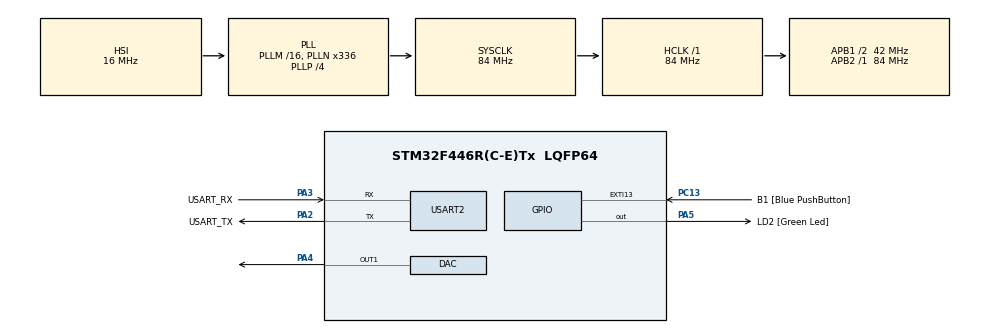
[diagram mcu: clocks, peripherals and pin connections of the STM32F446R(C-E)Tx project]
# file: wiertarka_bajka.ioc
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Mcu.Family=STM32F4
Mcu.Name=STM32F446R(C-E)Tx
Mcu.Package=LQFP64
NVIC.PriorityGroup=NVIC_PRIORITYGROUP_0
PA13.GPIO_Label=TMS
PA13.Mode=Serial_Wire
PA13.Signal=SYS_JTMS-SWDIO
PA14.GPIO_Label=TCK
PA14.Mode=Serial_Wire
PA14.Signal=SYS_JTCK-SWCLK
PA2.GPIO_Label=USART_TX
PA2.Mode=Asynchronous
PA2.Signal=USART2_TX
PA3.GPIO_Label=USART_RX
PA3.Mode=Asynchronous
PA3.Signal=USART2_RX
PA4.Signal=COMP_DAC1_group
PA5.GPIO_Label=LD2 [Green Led]
PA5.Signal=GPIO_Output
PB3.GPIO_Label=SWO
PB3.Signal=SYS_JTDO-SWO
PC13.GPIO_Label=B1 [Blue PushButton]
PC13.GPIO_ModeDefaultEXTI=GPIO_MODE_IT_FALLING
PC13.Signal=GPXTI13
PC14-OSC32_IN.Mode=LSE-External-Oscillator
PC14-OSC32_IN.Signal=RCC_OSC32_IN
PC15-OSC32_OUT.Mode=LSE-External-Oscillator
PC15-OSC32_OUT.Signal=RCC_OSC32_OUT
PH0-OSC_IN.Mode=HSE-External-Oscillator
PH0-OSC_IN.Signal=RCC_OSC_IN
PH1-OSC_OUT.Mode=HSE-External-Oscillator
PH1-OSC_OUT.Signal=RCC_OSC_OUT
ProjectManager.HeapSize=0x200
ProjectManager.StackSize=0x400
ProjectManager.TargetToolchain=STM32CubeIDE
RCC.48MHZClocksFreq_Value=84000000
RCC.AHBFreq_Value=84000000
RCC.APB1CLKDivider=RCC_HCLK_DIV2
RCC.APB1Freq_Value=42000000
RCC.APB1TimFreq_Value=84000000
RCC.APB2Freq_Value=84000000
RCC.APB2TimFreq_Value=84000000
RCC.CortexFreq_Value=84000000
RCC.FLatency-AdvancedSettings=FLASH_LATENCY_2
RCC.HCLKFreq_Value=84000000
RCC.HSE_VALUE=8000000
RCC.HSI_VALUE=16000000
RCC.PLLN=336
RCC.PLLP=RCC_PLLP_DIV4
RCC.SYSCLKFreq_VALUE=84000000
RCC.SYSCLKSource=RCC_SYSCLKSOURCE_PLLCLK
RCC.USBFreq_Value=168000000
RCC.VCOOutputFreq_Value=336000000
SH.COMP_DAC1_group.0=DAC_OUT1,DAC_OUT1
USART2.VirtualMode=VM_ASYNC
board=NUCLEO-F446RE

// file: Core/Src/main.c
/* USER CODE BEGIN Header */
/**
  ******************************************************************************
  * @file           : main.c
  * @brief          : Main program body
  ******************************************************************************
  * @attention
  *
  * Copyright (c) 2024 STMicroelectronics.
  * All rights reserved.
  *
  * This software is licensed under terms that can be found in the LICENSE file
  * in the root directory of this software component.
  * If no LICENSE file comes with this software, it is provided AS-IS.
  *
  ******************************************************************************
  */
/* USER CODE END Header */
#include "main.h"

/* USER CODE BEGIN PD */
#define MAX_VOLTAGE 24.0 //do zmiany po wykonaniu pomiaru z baterią
#define MAX_NUMBER 4095.0 //max number for 12-bit converter
/* USER CODE END PD */

DAC_HandleTypeDef hdac;

UART_HandleTypeDef huart2;

void SystemClock_Config(void);
static void MX_GPIO_Init(void);
static void MX_USART2_UART_Init(void);
static void MX_DAC_Init(void);

int main(void)
{

  /* MCU Configuration--------------------------------------------------------*/

  /* Reset of all peripherals, Initializes the Flash interface and the Systick. */
  HAL_Init();

  /* Configure the system clock */
  SystemClock_Config();

  /* Initialize all configured peripherals */
  MX_GPIO_Init();
  MX_USART2_UART_Init();
  MX_DAC_Init();
  /* USER CODE BEGIN 2 */
  HAL_DAC_Start(&hdac, DAC_CHANNEL_1);

  uint32_t numarray[12];
  float convert_percent_to_voltage(uint8_t percent)
  {
	 float percent_float = (float)percent;
	 float target_voltage  = percent_float/100.0*MAX_VOLTAGE;
	 return target_voltage;
  }

  uint16_t convert_percent_to_12bits_value(uint8_t percent)
  {
	  float percent_16b = (float)percent;
	  float target_voltage = percent_16b/100.0*MAX_NUMBER;
	  //sprintf(numarray, "%d\n", (uint16_t)target_voltage);
	  //HAL_UART_Transmit(&huart2, numarray, 4, 1000);
	  //HAL_Delay(1000);
	  return target_voltage;
  }

  void send_via_DAC(uint8_t percent)
  {
	  uint16_t voltage = convert_percent_to_12bits_value(percent);
	  HAL_DAC_SetValue(&hdac, DAC_CHANNEL_1, DAC_ALIGN_12B_R, voltage);
  }

  uint8_t percent_value = 91;
  send_via_DAC(percent_value);
  /* USER CODE END 2 */

  /* Infinite loop */
  while (1)
  {

    /* USER CODE BEGIN 3 */

//	  HAL_DAC_SetValue(&hdac, DAC_CHANNEL_1, DAC_ALIGN_12B_R, dac_value);

  }
  /* USER CODE END 3 */
}

void SystemClock_Config(void)
{
  RCC_OscInitTypeDef RCC_OscInitStruct = {0};
  RCC_ClkInitTypeDef RCC_ClkInitStruct = {0};

  /** Configure the main internal regulator output voltage
  */
  __HAL_RCC_PWR_CLK_ENABLE();
  __HAL_PWR_VOLTAGESCALING_CONFIG(PWR_REGULATOR_VOLTAGE_SCALE3);

  /** Initializes the RCC Oscillators according to the specified parameters
  * in the RCC_OscInitTypeDef structure.
  */
  RCC_OscInitStruct.OscillatorType = RCC_OSCILLATORTYPE_HSI;
  RCC_OscInitStruct.HSIState = RCC_HSI_ON;
  RCC_OscInitStruct.HSICalibrationValue = RCC_HSICALIBRATION_DEFAULT;
  RCC_OscInitStruct.PLL.PLLState = RCC_PLL_ON;
  RCC_OscInitStruct.PLL.PLLSource = RCC_PLLSOURCE_HSI;
  RCC_OscInitStruct.PLL.PLLM = 16;
  RCC_OscInitStruct.PLL.PLLN = 336;
  RCC_OscInitStruct.PLL.PLLP = RCC_PLLP_DIV4;
  RCC_OscInitStruct.PLL.PLLQ = 2;
  RCC_OscInitStruct.PLL.PLLR = 2;
  if (HAL_RCC_OscConfig(&RCC_OscInitStruct) != HAL_OK)
  {
    Error_Handler();
  }

  /** Initializes the CPU, AHB and APB buses clocks
  */
  RCC_ClkInitStruct.ClockType = RCC_CLOCKTYPE_HCLK|RCC_CLOCKTYPE_SYSCLK
                              |RCC_CLOCKTYPE_PCLK1|RCC_CLOCKTYPE_PCLK2;
  RCC_ClkInitStruct.SYSCLKSource = RCC_SYSCLKSOURCE_PLLCLK;
  RCC_ClkInitStruct.AHBCLKDivider = RCC_SYSCLK_DIV1;
  RCC_ClkInitStruct.APB1CLKDivider = RCC_HCLK_DIV2;
  RCC_ClkInitStruct.APB2CLKDivider = RCC_HCLK_DIV1;

  if (HAL_RCC_ClockConfig(&RCC_ClkInitStruct, FLASH_LATENCY_2) != HAL_OK)
  {
    Error_Handler();
  }
}

static void MX_DAC_Init(void)
{

  DAC_ChannelConfTypeDef sConfig = {0};

  /** DAC Initialization
  */
  hdac.Instance = DAC;
  if (HAL_DAC_Init(&hdac) != HAL_OK)
  {
    Error_Handler();
  }

  /** DAC channel OUT1 config
  */
  sConfig.DAC_Trigger = DAC_TRIGGER_NONE;
  sConfig.DAC_OutputBuffer = DAC_OUTPUTBUFFER_ENABLE;
  if (HAL_DAC_ConfigChannel(&hdac, &sConfig, DAC_CHANNEL_1) != HAL_OK)
  {
    Error_Handler();
  }

}

static void MX_USART2_UART_Init(void)
{

  huart2.Instance = USART2;
  huart2.Init.BaudRate = 115200;
  huart2.Init.WordLength = UART_WORDLENGTH_8B;
  huart2.Init.StopBits = UART_STOPBITS_1;
  huart2.Init.Parity = UART_PARITY_NONE;
  huart2.Init.Mode = UART_MODE_TX_RX;
  huart2.Init.HwFlowCtl = UART_HWCONTROL_NONE;
  huart2.Init.OverSampling = UART_OVERSAMPLING_16;
  if (HAL_UART_Init(&huart2) != HAL_OK)
  {
    Error_Handler();
  }

}

static void MX_GPIO_Init(void)
{
  GPIO_InitTypeDef GPIO_InitStruct = {0};

  /* GPIO Ports Clock Enable */
  __HAL_RCC_GPIOC_CLK_ENABLE();
  __HAL_RCC_GPIOH_CLK_ENABLE();
  __HAL_RCC_GPIOA_CLK_ENABLE();
  __HAL_RCC_GPIOB_CLK_ENABLE();

  /*Configure GPIO pin Output Level */
  HAL_GPIO_WritePin(LD2_GPIO_Port, LD2_Pin, GPIO_PIN_RESET);

  /*Configure GPIO pin : B1_Pin */
  GPIO_InitStruct.Pin = B1_Pin;
  GPIO_InitStruct.Mode = GPIO_MODE_IT_FALLING;
  GPIO_InitStruct.Pull = GPIO_NOPULL;
  HAL_GPIO_Init(B1_GPIO_Port, &GPIO_InitStruct);

  /*Configure GPIO pin : LD2_Pin */
  GPIO_InitStruct.Pin = LD2_Pin;
  GPIO_InitStruct.Mode = GPIO_MODE_OUTPUT_PP;
  GPIO_InitStruct.Pull = GPIO_NOPULL;
  GPIO_InitStruct.Speed = GPIO_SPEED_FREQ_LOW;
  HAL_GPIO_Init(LD2_GPIO_Port, &GPIO_InitStruct);

}

void Error_Handler(void)
{
  __disable_irq();
  while (1)
  {
  }
}
